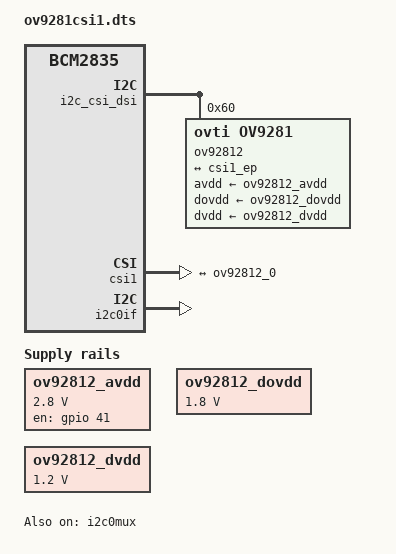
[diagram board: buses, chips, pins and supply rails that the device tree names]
/dts-v1/;
/plugin/;

/{
	compatible = "brcm,bcm2835";

	fragment@0 {
		target = <&i2c_csi_dsi>;
		__overlay__ {
			#address-cells = <1>;
			#size-cells = <0>;
			status = "okay";

			ov92812: ov92812@60 {
				compatible = "ovti,ov9281";
				reg = <0x60>;
				status = "okay";

				clocks = <&ov92812_clk>;
				clock-names = "xvclk";

				avdd-supply = <&ov92812_avdd>;
				dovdd-supply = <&ov92812_dovdd>;
				dvdd-supply = <&ov92812_dvdd>;

				port {
					ov92812_0: endpoint {
						remote-endpoint = <&csi1_ep>;
						clock-lanes = <0>;
						data-lanes = <1 2>;
						clock-noncontinuous;
						link-frequencies =
							/bits/ 64 <400000000>;
					};
				};
			};
		};
	};

	fragment@1 {
		target = <&csi1>;
		__overlay__ {
			status = "okay";

			port {
				csi1_ep: endpoint {
					remote-endpoint = <&ov92812_0>;
					data-lanes = <1 2>;
					clock-noncontinuous;
				};
			};
		};
	};

	fragment@2 {
		target = <&i2c0if>;
		__overlay__ {
			status = "okay";
		};
	};

	fragment@3 {
		target-path="/";
		__overlay__ {
			ov92812_avdd: fixedregulator@0 {
				compatible = "regulator-fixed";
				regulator-name = "ov92812_avdd";
				regulator-min-microvolt = <2800000>;
				regulator-max-microvolt = <2800000>;
				gpio = <&gpio 41 0>;
				enable-active-high;
			};
			ov92812_dovdd: fixedregulator@1 {
				compatible = "regulator-fixed";
				regulator-name = "ov92812_dovdd";
				regulator-min-microvolt = <1800000>;
				regulator-max-microvolt = <1800000>;
			};
			ov92812_dvdd: fixedregulator@2 {
				compatible = "regulator-fixed";
				regulator-name = "ov92812_dvdd";
				regulator-min-microvolt = <1200000>;
				regulator-max-microvolt = <1200000>;
			};
			ov92812_clk: ov92812-clk {
				compatible = "fixed-clock";
				#clock-cells = <0>;
				clock-frequency = <24000000>;
			};
		};
	};

	fragment@4 {
		target = <&i2c0mux>;
		__overlay__ {
			status = "okay";
		};
	};

	fragment@5 {
		target-path="/__overrides__";
		__overlay__ {
			cam0-pwdn-ctrl = <&ov92812_avdd>,"gpio:0";
			cam0-pwdn      = <&ov92812_avdd>,"gpio:4";
		};
	};
};
